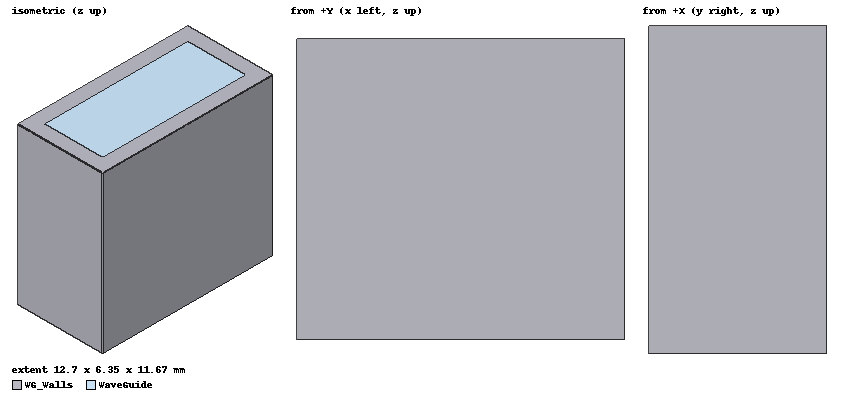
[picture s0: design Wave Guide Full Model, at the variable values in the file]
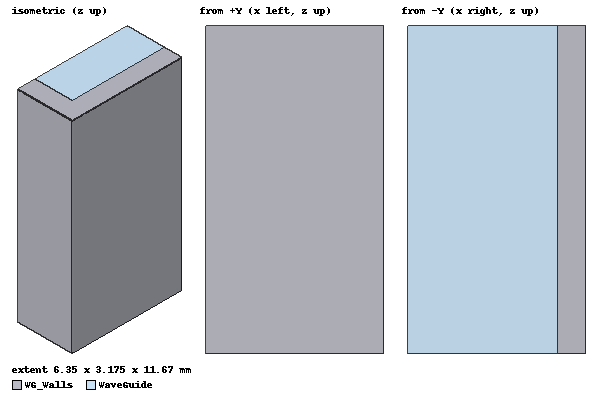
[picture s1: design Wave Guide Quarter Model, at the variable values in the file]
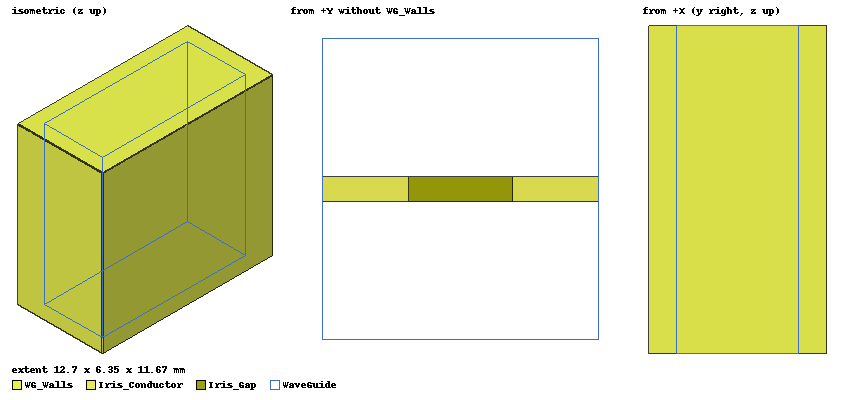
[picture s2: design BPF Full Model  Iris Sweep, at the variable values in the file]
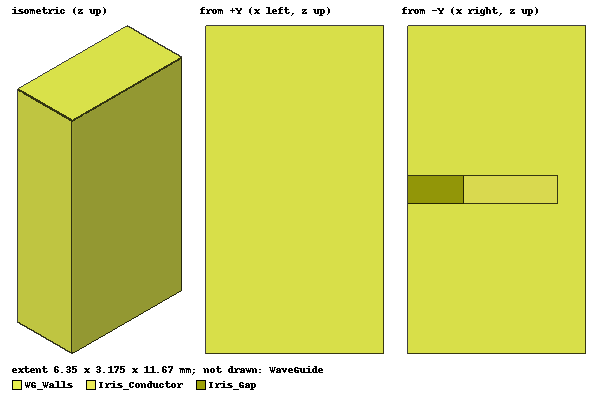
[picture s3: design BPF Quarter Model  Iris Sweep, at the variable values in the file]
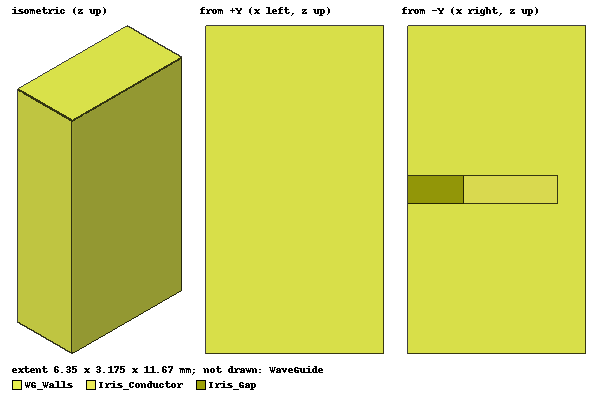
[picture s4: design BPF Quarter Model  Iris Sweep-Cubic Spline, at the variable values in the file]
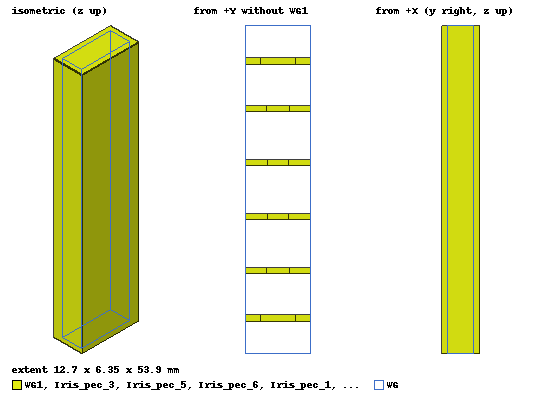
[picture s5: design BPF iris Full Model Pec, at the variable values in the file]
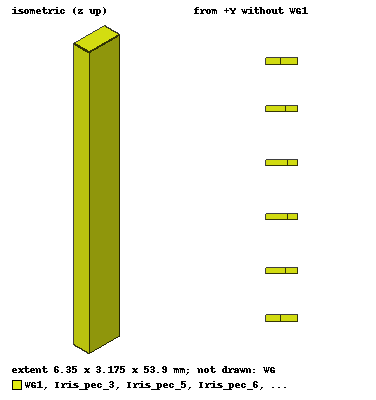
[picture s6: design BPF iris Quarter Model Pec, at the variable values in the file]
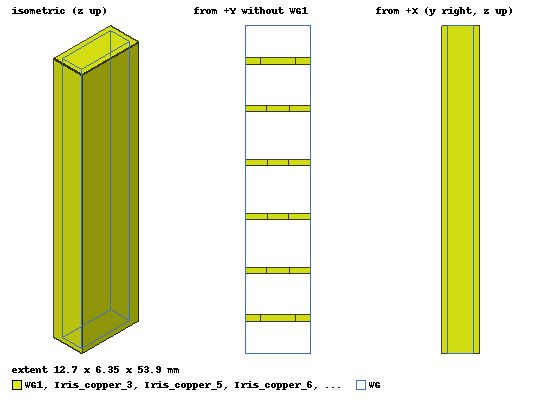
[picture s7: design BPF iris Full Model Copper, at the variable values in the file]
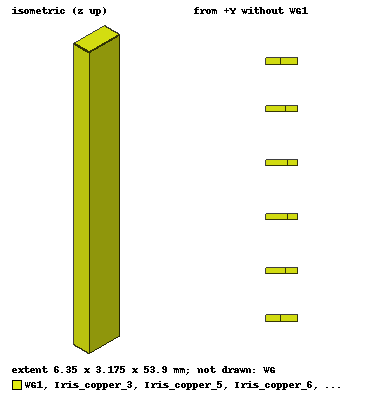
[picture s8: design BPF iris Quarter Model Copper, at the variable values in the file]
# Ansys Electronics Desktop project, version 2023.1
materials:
  vacuum: permittivity=1
  pec: conductivity=1e+30
  copper: permeability=0.999991 conductivity=58000000

design Wave Guide Full Model (HFSS, HFSS Modal Network, model units mm)
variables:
  a = 10.668mm
  b = 4.318mm
  tw = 1.016mm
  t_iris = 1mm
  dp = (1/2)*a
  L = 2*dp+t_iris
  ag_0 = 4mm
  aw = a+2*tw
  bw = b+2*tw
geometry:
  WaveGuide [vacuum] = box(corner=(-(1/2)*a, -(1/2)*b, 0mm), size=(a, b, L))
  WG_Walls [pec] = box(corner=(-(1/2)*aw, -(1/2)*bw, 0mm), size=(aw, bw, L))
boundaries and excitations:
  1: Wave Port Faces=WaveGuide.face(-z) WavePortType=Modal NumModes=1 Modes{Mode1{IntLine{(0, -2.159, 0) -> (0, 2.159, 0)} CharImp=Zpi}}
  2: Wave Port Faces=WaveGuide.face(+z) WavePortType=Modal NumModes=1 Modes{Mode1{IntLine{(0, -2.159, 11.668) -> (0, 2.159, 11.668)} CharImp=Zpv}}
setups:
  Setup1: HfssDriven Frequency=22GHz MaxDeltaS=0.001 MaximumPasses=15 MinimumPasses=1 MinimumConvergedPasses=1 PercentRefinement=30 BasisOrder=2 PortAccuracy=2 DrivenSolverType="Iterative Solver" IterativeResidual=1e-06 DDMSolverResidual=0.0001
    sweep Sweep: 20.5GHz to 23.5GHz step 50MHz; Type=Interpolating InterpTolerance=0.5 InterpMaxSolns=250 InterpUsePortImped=false PassivityErrorTolerance=0.0001
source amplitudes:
  1:1: 1W 0deg
  2:1: 0W 0deg
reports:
  S Parameter Plot 1: dB(S(1,1)), dB(S(2,1)) vs Freq on Setup1 : Sweep

design Wave Guide Quarter Model (HFSS, HFSS Modal Network, model units mm)
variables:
  a = 10.668mm
  b = 4.318mm
  tw = 1.016mm
  t_iris = 1mm
  dp = (1/2)*a
  L = 2*dp+t_iris
  ag_0 = 4mm
  aw = a+2*tw
  bw = b+2*tw
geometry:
  WaveGuide [vacuum] = box(corner=(-(1/2)*a, -(1/2)*b, 0mm), size=(a, b, L))
  WG_Walls [pec] = box(corner=(-(1/2)*aw, -(1/2)*bw, 0mm), size=(aw, bw, L))
  [WaveGuide, WG_Walls].split(plane=YZ, keep=PositiveOnly)
  [WaveGuide, WG_Walls].split(plane=ZX, keep=PositiveOnly)
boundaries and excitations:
  Sym1: Symmetry Faces=WG_Walls.face(at (0, 1.5875, 5.834)) IsPerfectE=false
  Sym2: Symmetry Faces=WG_Walls.face(at (3.175, 0, 5.834)) IsPerfectE=true
  1: Wave Port Faces=WaveGuide.face(-z) WavePortType=Modal NumModes=1 Modes{Mode1{IntLine{(0, 0, 0) -> (0, 2.159, 0)} CharImp=Zpv}}
  2: Wave Port Faces=WaveGuide.face(+z) WavePortType=Modal NumModes=1 Modes{Mode1{IntLine{(0, 0, 11.668) -> (0, 2.159, 11.668)} CharImp=Zpv}}
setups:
  Setup1: HfssDriven Frequency=22GHz MaxDeltaS=0.001 MaximumPasses=15 MinimumPasses=1 MinimumConvergedPasses=1 PercentRefinement=30 BasisOrder=2 PortAccuracy=2 DrivenSolverType="Iterative Solver" IterativeResidual=1e-06 DDMSolverResidual=0.0001
    sweep Sweep: 20.5GHz to 23.5GHz step 50MHz; Type=Interpolating InterpTolerance=0.5 InterpMaxSolns=250 InterpUsePortImped=false PassivityErrorTolerance=0.0001
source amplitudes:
  1:1: 1W 0deg
  2:1: 0W 0deg
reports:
  S Parameter Plot 1: dB(S(1,1)), dB(S(2,1)) vs Freq on Setup1 : Sweep
  S Parameter Plot 2: dB(S(1,1)), dB(S(2,1)) vs Freq on Setup1 : Sweep
  S Parameter Chart 1: S(1,1) on Setup1 : Sweep [Freq=all]
  S Parameter Table 1: ang_deg(S(2,1)) vs Freq on Setup1 : Sweep

design BPF Full Model  Iris Sweep (HFSS, HFSS Modal Network, model units mm)
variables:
  a = 10.668mm
  b = 4.318mm
  tw = 1.016mm
  t_iris = 1mm
  dp = (1/2)*a
  L = 2*dp+t_iris
  ag_0 = 4mm
  aw = a+2*tw
  bw = b+2*tw
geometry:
  WaveGuide [vacuum] = box(corner=(-(1/2)*a, -(1/2)*b, 0mm), size=(a, b, L))
  WG_Walls [pec] = box(corner=(-(1/2)*aw, -(1/2)*bw, 0mm), size=(aw, bw, L))
  Iris_Conductor [pec] = box(corner=(-(1/2)*a, -(1/2)*b, dp), size=(a, b, t_iris))
  Iris_Gap [vacuum] = box(corner=(-(1/2)*ag_0, -(1/2)*b, dp), size=(ag_0, b, t_iris))
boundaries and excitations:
  1: Wave Port Faces=WaveGuide.face(-z) WavePortType=Modal NumModes=1 DeembedDist=dp Modes{Mode1{IntLine{(0, -2.159, 0) -> (0, 2.159, 0)} CharImp=Zpi}}
  2: Wave Port Faces=WaveGuide.face(+z) WavePortType=Modal NumModes=1 DeembedDist=dp Modes{Mode1{IntLine{(0, -2.159, 11.668) -> (0, 2.159, 11.668)} CharImp=Zpv}}
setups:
  Setup1: HfssDriven Frequency=22GHz MaxDeltaS=0.001 MaximumPasses=15 MinimumPasses=1 MinimumConvergedPasses=1 PercentRefinement=30 BasisOrder=2 PortAccuracy=2 DrivenSolverType="Iterative Solver" IterativeResidual=1e-06 DDMSolverResidual=0.0001
    sweep Sweep: 20.5GHz to 23.5GHz step 50MHz; Type=Interpolating InterpTolerance=0.5 InterpMaxSolns=250 InterpUsePortImped=false PassivityErrorTolerance=0.0001
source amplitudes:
  1:1: 1W 0deg
  2:1: 0W 0deg
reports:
  S Parameter Plot 1: dB(S(1,1)), dB(S(2,1)) vs Freq on Setup1 : Sweep

design BPF Quarter Model  Iris Sweep (HFSS, HFSS Modal Network, model units mm)
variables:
  a = 10.668mm
  b = 4.318mm
  tw = 1.016mm
  t_iris = 1mm
  dp = (1/2)*a
  L = 2*dp+t_iris
  ag_0 = 4mm
  aw = a+2*tw
  bw = b+2*tw
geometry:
  WaveGuide [vacuum] = box(corner=(-(1/2)*a, -(1/2)*b, 0mm), size=(a, b, L))
  WG_Walls [pec] = box(corner=(-(1/2)*aw, -(1/2)*bw, 0mm), size=(aw, bw, L))
  Iris_Conductor [pec] = box(corner=(-(1/2)*a, -(1/2)*b, dp), size=(a, b, t_iris))
  Iris_Gap [vacuum] = box(corner=(-(1/2)*ag_0, -(1/2)*b, dp), size=(ag_0, b, t_iris))
  [WaveGuide, WG_Walls, Iris_Conductor, Iris_Gap].split(plane=YZ, keep=PositiveOnly)
  [WaveGuide, WG_Walls, Iris_Conductor, Iris_Gap].split(plane=ZX, keep=PositiveOnly)
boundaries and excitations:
  Sym1: Symmetry Faces=WG_Walls.face(at (0, 1.5875, 5.834)) IsPerfectE=false
  Sym2: Symmetry Faces=WG_Walls.face(at (3.175, 0, 5.834)) IsPerfectE=true
  1: Wave Port Faces=WaveGuide.face(-z) WavePortType=Modal NumModes=1 DeembedDist=dp Modes{Mode1{IntLine{(0, 0, 0) -> (0, 2.159, 0)} CharImp=Zpi}}
  2: Wave Port Faces=WaveGuide.face(+z) WavePortType=Modal NumModes=1 DeembedDist=dp Modes{Mode1{IntLine{(0, 0, 11.668) -> (0, 2.159, 11.668)} CharImp=Zpv}}
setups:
  Setup1: HfssDriven Frequency=22GHz MaxDeltaS=0.001 MaximumPasses=15 MinimumPasses=1 MinimumConvergedPasses=1 PercentRefinement=30 BasisOrder=2 PortAccuracy=2 DrivenSolverType="Iterative Solver" IterativeResidual=1e-06 DDMSolverResidual=0.0001
    sweep Sweep: 20.5GHz to 23.5GHz step 50MHz; Type=Interpolating InterpTolerance=0.5 InterpMaxSolns=250 InterpUsePortImped=false PassivityErrorTolerance=0.0001
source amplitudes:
  1:1: 1W 0deg
  2:1: 0W 0deg
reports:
  S Parameter Chart 1: S(1,1) on Setup1 : Sweep [Freq=all]; markers m1 at 22GHz
  S Parameter Plot 2: dB(S(1,1)), dB(S(2,1)) vs Freq on Setup1 : Sweep

design BPF Quarter Model  Iris Sweep-Cubic Spline (HFSS, HFSS Modal Network, model units mm)
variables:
  a = 10.668mm
  b = 4.318mm
  tw = 1.016mm
  t_iris = 1mm
  dp = (1/2)*a
  L = 2*dp+t_iris
  ag_0 = 4mm
  aw = a+2*tw
  bw = b+2*tw
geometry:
  WaveGuide [vacuum] = box(corner=(-(1/2)*a, -(1/2)*b, 0mm), size=(a, b, L))
  WG_Walls [pec] = box(corner=(-(1/2)*aw, -(1/2)*bw, 0mm), size=(aw, bw, L))
  Iris_Conductor [pec] = box(corner=(-(1/2)*a, -(1/2)*b, dp), size=(a, b, t_iris))
  Iris_Gap [vacuum] = box(corner=(-(1/2)*ag_0, -(1/2)*b, dp), size=(ag_0, b, t_iris))
  [WaveGuide, WG_Walls, Iris_Conductor, Iris_Gap].split(plane=YZ, keep=PositiveOnly)
  [WaveGuide, WG_Walls, Iris_Conductor, Iris_Gap].split(plane=ZX, keep=PositiveOnly)
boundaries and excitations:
  Sym1: Symmetry Faces=WG_Walls.face(at (0, 1.5875, 5.834)) IsPerfectE=false
  Sym2: Symmetry Faces=WG_Walls.face(at (3.175, 0, 5.834)) IsPerfectE=true
  1: Wave Port Faces=WaveGuide.face(-z) WavePortType=Modal NumModes=1 DeembedDist=dp Modes{Mode1{IntLine{(0, 0, 0) -> (0, 2.159, 0)} CharImp=Zpi}}
  2: Wave Port Faces=WaveGuide.face(+z) WavePortType=Modal NumModes=1 DeembedDist=dp Modes{Mode1{IntLine{(0, 0, 11.668) -> (0, 2.159, 11.668)} CharImp=Zpv}}
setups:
  Setup1: HfssDriven Frequency=22GHz MaxDeltaS=0.001 MaximumPasses=35 MinimumPasses=1 MinimumConvergedPasses=1 PercentRefinement=30 BasisOrder=2 PortAccuracy=2 DrivenSolverType="Iterative Solver" IterativeResidual=1e-06 DDMSolverResidual=0.0001
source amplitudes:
  1:1: 1W 0deg
  2:1: 0W 0deg
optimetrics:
  ParametricSetup1: Parametric Sim._Setups=[Setup1]
    sweep ag_0: LIN 0.25mm 6.5mm 0.25mm
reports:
  S Parameter Table 1: mag(S(1,1)), ang_deg(S(1,1)), mag(S(2,1)), ang_deg(S(2,1)) vs ag_0 on Setup1 : LastAdaptive [Freq=all]
  S Parameter Plot 1: dB(S(1,1)), dB(S(2,1)) vs Freq on Setup1 : LastAdaptive [ag_0=all]
  S Parameter Chart 1: S(1,1) on Setup1 : LastAdaptive [Freq=all ag_0=all]

design BPF iris Full Model Pec (HFSS, HFSS Modal Network, model units mm)
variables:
  a = 10.668mm
  b = 4.318mm
  tw = 1.016mm
  t = 1mm
  L = 53.8995mm
  dp = (1/2)*a
  aw = a+2*tw
  bw = b+2*tw
  ag = [0, 5.737, 3.9424, 3.5427, 3.5427, 3.9424, 5.737, 0] mm
  zk = [0, 5.334, 13.1594, 21.9746, 30.9249, 39.7401, 47.5655, 53.8995] mm
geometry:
  WG [vacuum] = box(corner=(-(1/2)*a, -(1/2)*b, 0mm), size=(a, b, L))
  Iris_pec_1 [pec] = box(corner=(-(1/2)*a, -(1/2)*b, zk[1]), size=(a, b, t))
  Iris_pec_2 [pec] = box(corner=(-(1/2)*a, -(1/2)*b, zk[2]), size=(a, b, t))
  Iris_pec_3 [pec] = box(corner=(-(1/2)*a, -(1/2)*b, zk[3]), size=(a, b, t))
  Iris_pec_4 [pec] = box(corner=(-(1/2)*a, -(1/2)*b, zk[4]), size=(a, b, t))
  Iris_pec_5 [pec] = box(corner=(-(1/2)*a, -(1/2)*b, zk[5]), size=(a, b, t))
  Iris_pec_6 [pec] = box(corner=(-(1/2)*a, -(1/2)*b, zk[6]), size=(a, b, t))
  Iris_air_1 [vacuum] = box(corner=(-(1/2)*ag[1], -(1/2)*b, zk[1]), size=(ag[1], b, t))
  Iris_air_2 [vacuum] = box(corner=(-(1/2)*ag[2], -(1/2)*b, zk[2]), size=(ag[2], b, t))
  Iris_air_3 [vacuum] = box(corner=(-(1/2)*ag[3], -(1/2)*b, zk[3]), size=(ag[3], b, t))
  Iris_air_4 [vacuum] = box(corner=(-(1/2)*ag[4], -(1/2)*b, zk[4]), size=(ag[4], b, t))
  Iris_air_5 [vacuum] = box(corner=(-(1/2)*ag[5], -(1/2)*b, zk[5]), size=(ag[5], b, t))
  Iris_air_6 [vacuum] = box(corner=(-(1/2)*ag[6], -(1/2)*b, zk[6]), size=(ag[6], b, t))
  WG1 [pec] = box(corner=(-(1/2)*aw, -(1/2)*bw, 0mm), size=(aw, bw, L))

design BPF iris Quarter Model Pec (HFSS, HFSS Modal Network, model units mm)
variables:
  a = 10.668mm
  b = 4.318mm
  tw = 1.016mm
  t = 1mm
  L = 53.8995mm
  dp = (1/2)*a
  aw = a+2*tw
  bw = b+2*tw
  ag = [0, 5.737, 3.9424, 3.5427, 3.5427, 3.9424, 5.737, 0] mm
  zk = [0, 5.334, 13.1594, 21.9746, 30.9249, 39.7401, 47.5655, 53.8995] mm
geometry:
  WG [vacuum] = box(corner=(-(1/2)*a, -(1/2)*b, 0mm), size=(a, b, L))
  Iris_pec_1 [pec] = box(corner=(-(1/2)*a, -(1/2)*b, zk[1]), size=(a, b, t))
  Iris_pec_2 [pec] = box(corner=(-(1/2)*a, -(1/2)*b, zk[2]), size=(a, b, t))
  Iris_pec_3 [pec] = box(corner=(-(1/2)*a, -(1/2)*b, zk[3]), size=(a, b, t))
  Iris_pec_4 [pec] = box(corner=(-(1/2)*a, -(1/2)*b, zk[4]), size=(a, b, t))
  Iris_pec_5 [pec] = box(corner=(-(1/2)*a, -(1/2)*b, zk[5]), size=(a, b, t))
  Iris_pec_6 [pec] = box(corner=(-(1/2)*a, -(1/2)*b, zk[6]), size=(a, b, t))
  Iris_air_1 [vacuum] = box(corner=(-(1/2)*ag[1], -(1/2)*b, zk[1]), size=(ag[1], b, t))
  Iris_air_2 [vacuum] = box(corner=(-(1/2)*ag[2], -(1/2)*b, zk[2]), size=(ag[2], b, t))
  Iris_air_3 [vacuum] = box(corner=(-(1/2)*ag[3], -(1/2)*b, zk[3]), size=(ag[3], b, t))
  Iris_air_4 [vacuum] = box(corner=(-(1/2)*ag[4], -(1/2)*b, zk[4]), size=(ag[4], b, t))
  Iris_air_5 [vacuum] = box(corner=(-(1/2)*ag[5], -(1/2)*b, zk[5]), size=(ag[5], b, t))
  Iris_air_6 [vacuum] = box(corner=(-(1/2)*ag[6], -(1/2)*b, zk[6]), size=(ag[6], b, t))
  [WG, Iris_pec_1..Iris_pec_6, Iris_air_1..Iris_air_6].split(plane=YZ, keep=PositiveOnly)
  [WG, Iris_pec_1..Iris_pec_6, Iris_air_1..Iris_air_6].split(plane=ZX, keep=PositiveOnly)
  WG1 [pec] = box(corner=(-(1/2)*aw, -(1/2)*bw, 0mm), size=(aw, bw, L))
  WG1.split(plane=YZ, keep=PositiveOnly)
  WG1.split(plane=ZX, keep=PositiveOnly)
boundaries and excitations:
  Sym1: Symmetry Faces=WG1.face(at (0, 1.5875, 26.9498)) IsPerfectE=false
  Sym2: Symmetry Faces=WG1.face(at (3.175, 0, 26.9498)) IsPerfectE=true
  1: Wave Port Faces=WG.face(-z) WavePortType=Modal NumModes=1 DeembedDist=dp Modes{Mode1{IntLine{(0, 0, 0) -> (0, 2.159, 0)} CharImp=Zpv}}
  2: Wave Port Faces=WG.face(+z) WavePortType=Modal NumModes=1 DeembedDist=dp Modes{Mode1{IntLine{(0, 0, 53.8995) -> (0, 2.159, 53.8995)} CharImp=Zpv}}
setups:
  Setup1: HfssDriven MultipleAdaptiveFreqsSetup{Low=20.5GHz High=23.5GHz} MaxDeltaS=0.001 MaximumPasses=35 MinimumPasses=1 MinimumConvergedPasses=1 PercentRefinement=30 BasisOrder=2 PortAccuracy=2 DrivenSolverType="Iterative Solver" IterativeResidual=1e-06 DDMSolverResidual=0.0001
    sweep Sweep: 20.5GHz to 23.5GHz step 2.5MHz; Type=Interpolating InterpTolerance=0.5 InterpMaxSolns=250 InterpUsePortImped=false PassivityErrorTolerance=0.0001
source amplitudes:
  1:1: 1W 0deg
  2:1: 0W 0deg
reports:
  S Parameter Plot 1: dB(S(1,1)), dB(S(2,1)) vs Freq on Setup1 : Sweep
  S Parameter Plot 2: dB(S(2,1)) vs Freq on Setup1 : Sweep

design BPF iris Full Model Copper (HFSS, HFSS Modal Network, model units mm)
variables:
  a = 10.668mm
  b = 4.318mm
  tw = 1.016mm
  t = 1mm
  L = 53.8995mm
  dp = (1/2)*a
  aw = a+2*tw
  bw = b+2*tw
  ag = [0, 5.737, 3.9424, 3.5427, 3.5427, 3.9424, 5.737, 0] mm
  zk = [0, 5.334, 13.1594, 21.9746, 30.9249, 39.7401, 47.5655, 53.8995] mm
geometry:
  WG [vacuum] = box(corner=(-(1/2)*a, -(1/2)*b, 0mm), size=(a, b, L))
  Iris_copper_1 [copper] = box(corner=(-(1/2)*a, -(1/2)*b, zk[1]), size=(a, b, t))
  Iris_copper_2 [copper] = box(corner=(-(1/2)*a, -(1/2)*b, zk[2]), size=(a, b, t))
  Iris_copper_3 [copper] = box(corner=(-(1/2)*a, -(1/2)*b, zk[3]), size=(a, b, t))
  Iris_copper_4 [copper] = box(corner=(-(1/2)*a, -(1/2)*b, zk[4]), size=(a, b, t))
  Iris_copper_5 [copper] = box(corner=(-(1/2)*a, -(1/2)*b, zk[5]), size=(a, b, t))
  Iris_copper_6 [copper] = box(corner=(-(1/2)*a, -(1/2)*b, zk[6]), size=(a, b, t))
  Iris_air_1 [vacuum] = box(corner=(-(1/2)*ag[1], -(1/2)*b, zk[1]), size=(ag[1], b, t))
  Iris_air_2 [vacuum] = box(corner=(-(1/2)*ag[2], -(1/2)*b, zk[2]), size=(ag[2], b, t))
  Iris_air_3 [vacuum] = box(corner=(-(1/2)*ag[3], -(1/2)*b, zk[3]), size=(ag[3], b, t))
  Iris_air_4 [vacuum] = box(corner=(-(1/2)*ag[4], -(1/2)*b, zk[4]), size=(ag[4], b, t))
  Iris_air_5 [vacuum] = box(corner=(-(1/2)*ag[5], -(1/2)*b, zk[5]), size=(ag[5], b, t))
  Iris_air_6 [vacuum] = box(corner=(-(1/2)*ag[6], -(1/2)*b, zk[6]), size=(ag[6], b, t))
  WG1 [copper] = box(corner=(-(1/2)*aw, -(1/2)*bw, 0mm), size=(aw, bw, L))

design BPF iris Quarter Model Copper (HFSS, HFSS Modal Network, model units mm)
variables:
  a = 10.668mm
  b = 4.318mm
  tw = 1.016mm
  t = 1mm
  L = 53.8995mm
  dp = (1/2)*a
  aw = a+2*tw
  bw = b+2*tw
  ag = [0, 5.737, 3.9424, 3.5427, 3.5427, 3.9424, 5.737, 0] mm
  zk = [0, 5.334, 13.1594, 21.9746, 30.9249, 39.7401, 47.5655, 53.8995] mm
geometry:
  WG [vacuum] = box(corner=(-(1/2)*a, -(1/2)*b, 0mm), size=(a, b, L))
  Iris_copper_1 [copper] = box(corner=(-(1/2)*a, -(1/2)*b, zk[1]), size=(a, b, t))
  Iris_copper_2 [copper] = box(corner=(-(1/2)*a, -(1/2)*b, zk[2]), size=(a, b, t))
  Iris_copper_3 [copper] = box(corner=(-(1/2)*a, -(1/2)*b, zk[3]), size=(a, b, t))
  Iris_copper_4 [copper] = box(corner=(-(1/2)*a, -(1/2)*b, zk[4]), size=(a, b, t))
  Iris_copper_5 [copper] = box(corner=(-(1/2)*a, -(1/2)*b, zk[5]), size=(a, b, t))
  Iris_copper_6 [copper] = box(corner=(-(1/2)*a, -(1/2)*b, zk[6]), size=(a, b, t))
  Iris_air_1 [vacuum] = box(corner=(-(1/2)*ag[1], -(1/2)*b, zk[1]), size=(ag[1], b, t))
  Iris_air_2 [vacuum] = box(corner=(-(1/2)*ag[2], -(1/2)*b, zk[2]), size=(ag[2], b, t))
  Iris_air_3 [vacuum] = box(corner=(-(1/2)*ag[3], -(1/2)*b, zk[3]), size=(ag[3], b, t))
  Iris_air_4 [vacuum] = box(corner=(-(1/2)*ag[4], -(1/2)*b, zk[4]), size=(ag[4], b, t))
  Iris_air_5 [vacuum] = box(corner=(-(1/2)*ag[5], -(1/2)*b, zk[5]), size=(ag[5], b, t))
  Iris_air_6 [vacuum] = box(corner=(-(1/2)*ag[6], -(1/2)*b, zk[6]), size=(ag[6], b, t))
  WG1 [copper] = box(corner=(-(1/2)*aw, -(1/2)*bw, 0mm), size=(aw, bw, L))
  [WG, Iris_copper_1..Iris_copper_6, Iris_air_1..Iris_air_6, WG1].split(plane=YZ, keep=PositiveOnly)
  [WG, Iris_copper_1..Iris_copper_6, Iris_air_1..Iris_air_6, WG1].split(plane=ZX, keep=PositiveOnly)
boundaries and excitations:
  Sym1: Symmetry Faces=WG1.face(at (0, 1.5875, 26.9498)) IsPerfectE=false
  Sym2: Symmetry Faces=WG1.face(at (3.175, 0, 26.9498)) IsPerfectE=true
  1: Wave Port Faces=WG.face(-z) WavePortType=Modal NumModes=1 DeembedDist=dp Modes{Mode1{IntLine{(0, 0, 0) -> (0, 2.159, 0)} CharImp=Zpv}}
  2: Wave Port Faces=WG.face(+z) WavePortType=Modal NumModes=1 DeembedDist=dp Modes{Mode1{IntLine{(0, 0, 53.8995) -> (0, 2.159, 53.8995)} CharImp=Zpv}}
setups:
  Setup1: HfssDriven MultipleAdaptiveFreqsSetup{Low=20.5GHz High=23.5GHz} MaxDeltaS=0.001 MaximumPasses=35 MinimumPasses=1 MinimumConvergedPasses=1 PercentRefinement=30 BasisOrder=2 PortAccuracy=2 DrivenSolverType="Iterative Solver" IterativeResidual=1e-06 DDMSolverResidual=0.0001
    sweep Sweep: 20.5GHz to 23.5GHz step 2.5MHz; Type=Interpolating InterpTolerance=0.5 InterpMaxSolns=250 InterpUsePortImped=false PassivityErrorTolerance=0.0001
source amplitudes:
  1:1: 1W 0deg
  2:1: 0W 0deg
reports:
  S Parameter Plot 1: dB(S(1,1)), dB(S(2,1)) vs Freq on Setup1 : Sweep
  S Parameter Plot 2: dB(S(2,1)) vs Freq on Setup1 : Sweep
